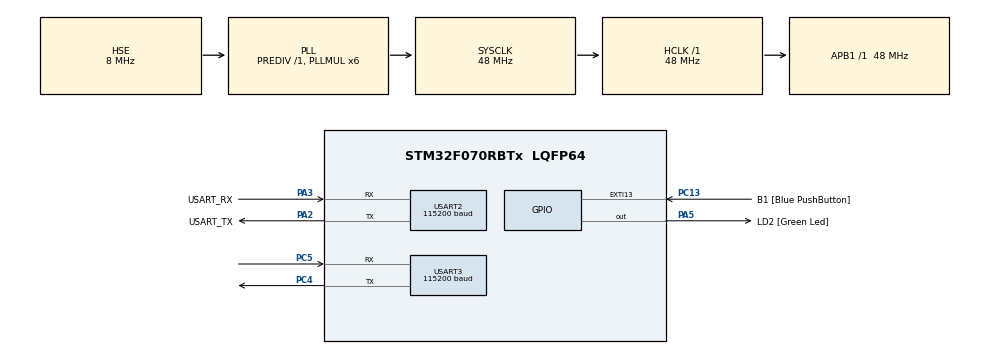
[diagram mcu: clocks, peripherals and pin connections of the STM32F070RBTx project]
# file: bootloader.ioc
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Mcu.Family=STM32F0
Mcu.Name=STM32F070RBTx
Mcu.Package=LQFP64
NVIC.USART2_IRQn=true\:0\:0\:false\:false\:false\:true\:false\:true
PA13.GPIO_Label=TMS
PA13.Mode=Serial_Wire
PA13.Signal=SYS_SWDIO
PA14.GPIO_Label=TCK
PA14.Mode=Serial_Wire
PA14.Signal=SYS_SWCLK
PA2.GPIO_Label=USART_TX
PA2.Mode=Asynchronous
PA2.Signal=USART2_TX
PA3.GPIO_Label=USART_RX
PA3.Mode=Asynchronous
PA3.Signal=USART2_RX
PA5.GPIO_Label=LD2 [Green Led]
PA5.Signal=GPIO_Output
PC13.GPIO_Label=B1 [Blue PushButton]
PC13.GPIO_ModeDefaultEXTI=GPIO_MODE_IT_FALLING
PC13.Signal=GPXTI13
PC14-OSC32_IN.GPIO_Label=RCC_OSC32_IN
PC14-OSC32_IN.Mode=LSE-External-Oscillator
PC14-OSC32_IN.Signal=RCC_OSC32_IN
PC15-OSC32_OUT.GPIO_Label=RCC_OSC32_OUT
PC15-OSC32_OUT.Mode=LSE-External-Oscillator
PC15-OSC32_OUT.Signal=RCC_OSC32_OUT
PC4.Mode=Asynchronous
PC4.Signal=USART3_TX
PC5.Mode=Asynchronous
PC5.Signal=USART3_RX
PF0-OSC_IN.GPIO_Label=RCC_OSC_IN
PF0-OSC_IN.Mode=HSE-External-Clock-Source
PF0-OSC_IN.Signal=RCC_OSC_IN
PF1-OSC_OUT.GPIO_Label=RCC_OSC_OUT
PF1-OSC_OUT.Signal=RCC_OSC_OUT
ProjectManager.HeapSize=0x200
ProjectManager.StackSize=0x400
ProjectManager.TargetToolchain=STM32CubeIDE
RCC.AHBFreq_Value=48000000
RCC.APB1Freq_Value=48000000
RCC.APB1TimFreq_Value=48000000
RCC.HCLKFreq_Value=48000000
RCC.PLLMUL=RCC_PLL_MUL6
RCC.PLLSourceVirtual=RCC_PLLSOURCE_HSE
RCC.SYSCLKFreq_VALUE=48000000
RCC.SYSCLKSource=RCC_SYSCLKSOURCE_PLLCLK
USART2.BaudRate=115200
USART2.VirtualMode-Asynchronous=VM_ASYNC
USART3.BaudRate=115200
USART3.VirtualMode-Asynchronous=VM_ASYNC
board=NUCLEO-F070RB

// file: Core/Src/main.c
/* USER CODE BEGIN Header */
/**
  ******************************************************************************
  * @file           : main.c
  * @brief          : Main program body
  ******************************************************************************
  * @attention
  *
  * Copyright (c) 2022 STMicroelectronics.
  * All rights reserved.
  *
  * This software is licensed under terms that can be found in the LICENSE file
  * in the root directory of this software component.
  * If no LICENSE file comes with this software, it is provided AS-IS.
  *
  ******************************************************************************
  */
/* USER CODE END Header */
#include "main.h"

/* USER CODE BEGIN Includes */
#include "spy.h"
#include "parser.h"
#include "bootloader.h"
/* USER CODE END Includes */

UART_HandleTypeDef huart2;
UART_HandleTypeDef huart3;

void SystemClock_Config(void);
static void MX_GPIO_Init(void);
static void MX_USART2_UART_Init(void);
static void MX_USART3_UART_Init(void);

/* USER CODE BEGIN 0 */
int __io_putchar(int ch){
	HAL_UART_Transmit(&huart3, (uint8_t*)&ch, 1, 100);
}
/* USER CODE END 0 */

int main(void)
{
  /* USER CODE BEGIN 1 */
	packet_struct_t Rxpacket;
	receive_data_t sendData;
	sendData.data_u32 = 0;
  /* USER CODE END 1 */

  /* MCU Configuration--------------------------------------------------------*/

  /* Reset of all peripherals, Initializes the Flash interface and the Systick. */
  HAL_Init();

  /* Configure the system clock */
  SystemClock_Config();

  /* Initialize all configured peripherals */
  MX_GPIO_Init();
  MX_USART2_UART_Init();
  MX_USART3_UART_Init();
  /* USER CODE BEGIN 2 */

  //Acilista butona basilmassa bootlader direk uygulamaya gecer
  if (HAL_GPIO_ReadPin(B1_GPIO_Port,B1_Pin) == GPIO_PIN_SET)
  {
	  jump_user_app();
  }

  MY_PRINTF("Welcome Bootloader...\r\n");

  /* USER CODE END 2 */

  /* Infinite loop */
  /* USER CODE BEGIN WHILE */
  while (1)
  {

	//Parser ve usart haberlesme calistiriliyor
	//Paket dogru ise komutlara gore islem icra ediliyor.
	if(communication_layer_handler(&Rxpacket, &sendData) == PROCESS_OK)
	{
		switch (Rxpacket.commandNumber.all)
		{
			case BL_FLASH_ERASE:
				flash_erase_handler(Rxpacket.commandAddress.all); //Silme islemi icin flash page adresi gonderiliyor
				break;

			case BL_FLASH_WRITE:
				flash_write_handler(Rxpacket.data.data_u32, Rxpacket.commandAddress.all); //Yazma icin data ve adres gonderiliyor
				break;

			case BL_JMP_APP:
				jump_user_app();
				break;
		}
		answer_handler(&Rxpacket, &sendData);
	}

    /* USER CODE END WHILE */

  }
}

void SystemClock_Config(void)
{
  RCC_OscInitTypeDef RCC_OscInitStruct = {0};
  RCC_ClkInitTypeDef RCC_ClkInitStruct = {0};

  /** Initializes the RCC Oscillators according to the specified parameters
  * in the RCC_OscInitTypeDef structure.
  */
  RCC_OscInitStruct.OscillatorType = RCC_OSCILLATORTYPE_HSE;
  RCC_OscInitStruct.HSEState = RCC_HSE_BYPASS;
  RCC_OscInitStruct.PLL.PLLState = RCC_PLL_ON;
  RCC_OscInitStruct.PLL.PLLSource = RCC_PLLSOURCE_HSE;
  RCC_OscInitStruct.PLL.PLLMUL = RCC_PLL_MUL6;
  RCC_OscInitStruct.PLL.PREDIV = RCC_PREDIV_DIV1;
  if (HAL_RCC_OscConfig(&RCC_OscInitStruct) != HAL_OK)
  {
    Error_Handler();
  }

  /** Initializes the CPU, AHB and APB buses clocks
  */
  RCC_ClkInitStruct.ClockType = RCC_CLOCKTYPE_HCLK|RCC_CLOCKTYPE_SYSCLK
                              |RCC_CLOCKTYPE_PCLK1;
  RCC_ClkInitStruct.SYSCLKSource = RCC_SYSCLKSOURCE_PLLCLK;
  RCC_ClkInitStruct.AHBCLKDivider = RCC_SYSCLK_DIV1;
  RCC_ClkInitStruct.APB1CLKDivider = RCC_HCLK_DIV1;

  if (HAL_RCC_ClockConfig(&RCC_ClkInitStruct, FLASH_LATENCY_1) != HAL_OK)
  {
    Error_Handler();
  }
}

static void MX_USART2_UART_Init(void)
{

  huart2.Instance = USART2;
  huart2.Init.BaudRate = 115200;
  huart2.Init.WordLength = UART_WORDLENGTH_8B;
  huart2.Init.StopBits = UART_STOPBITS_1;
  huart2.Init.Parity = UART_PARITY_NONE;
  huart2.Init.Mode = UART_MODE_TX_RX;
  huart2.Init.HwFlowCtl = UART_HWCONTROL_NONE;
  huart2.Init.OverSampling = UART_OVERSAMPLING_16;
  huart2.Init.OneBitSampling = UART_ONE_BIT_SAMPLE_DISABLE;
  huart2.AdvancedInit.AdvFeatureInit = UART_ADVFEATURE_NO_INIT;
  if (HAL_UART_Init(&huart2) != HAL_OK)
  {
    Error_Handler();
  }
  /* USER CODE BEGIN USART2_Init 2 */
  SET_BIT(USART2->CR1, USART_CR1_RXNEIE);
  /* USER CODE END USART2_Init 2 */

}

static void MX_USART3_UART_Init(void)
{

  huart3.Instance = USART3;
  huart3.Init.BaudRate = 115200;
  huart3.Init.WordLength = UART_WORDLENGTH_8B;
  huart3.Init.StopBits = UART_STOPBITS_1;
  huart3.Init.Parity = UART_PARITY_NONE;
  huart3.Init.Mode = UART_MODE_TX_RX;
  huart3.Init.HwFlowCtl = UART_HWCONTROL_NONE;
  huart3.Init.OverSampling = UART_OVERSAMPLING_16;
  huart3.Init.OneBitSampling = UART_ONE_BIT_SAMPLE_DISABLE;
  huart3.AdvancedInit.AdvFeatureInit = UART_ADVFEATURE_NO_INIT;
  if (HAL_UART_Init(&huart3) != HAL_OK)
  {
    Error_Handler();
  }

}

static void MX_GPIO_Init(void)
{
  GPIO_InitTypeDef GPIO_InitStruct = {0};

  /* GPIO Ports Clock Enable */
  __HAL_RCC_GPIOC_CLK_ENABLE();
  __HAL_RCC_GPIOF_CLK_ENABLE();
  __HAL_RCC_GPIOA_CLK_ENABLE();

  /*Configure GPIO pin Output Level */
  HAL_GPIO_WritePin(LD2_GPIO_Port, LD2_Pin, GPIO_PIN_RESET);

  /*Configure GPIO pin : B1_Pin */
  GPIO_InitStruct.Pin = B1_Pin;
  GPIO_InitStruct.Mode = GPIO_MODE_IT_FALLING;
  GPIO_InitStruct.Pull = GPIO_NOPULL;
  HAL_GPIO_Init(B1_GPIO_Port, &GPIO_InitStruct);

  /*Configure GPIO pin : LD2_Pin */
  GPIO_InitStruct.Pin = LD2_Pin;
  GPIO_InitStruct.Mode = GPIO_MODE_OUTPUT_PP;
  GPIO_InitStruct.Pull = GPIO_NOPULL;
  GPIO_InitStruct.Speed = GPIO_SPEED_FREQ_LOW;
  HAL_GPIO_Init(LD2_GPIO_Port, &GPIO_InitStruct);

}

void Error_Handler(void)
{
  __disable_irq();
  while (1)
  {
  }
}
